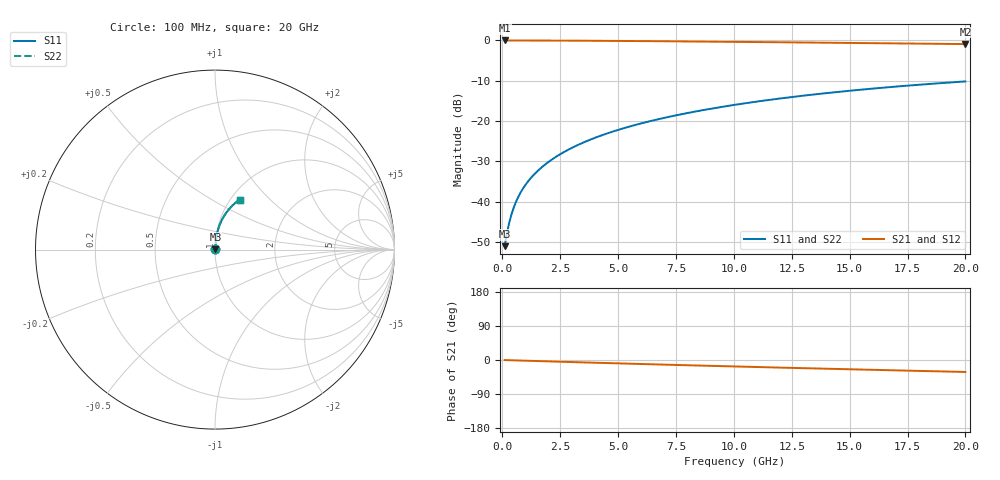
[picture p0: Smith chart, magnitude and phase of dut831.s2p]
! Touchstone file exported from HFSS 2024.1.0
!  File:  C:/UserFiles/LocalFiles/RDL_TSV_Batchsim/temp_RDL_top_831_1779854975.aedt
!  Generated:  12:11:18 PM May 27, 2026
!  Design:  RDL_top
!  Project:  temp_RDL_top_831_1779854975
!  Setup:  Setup1
!  Solution:  Sweep
! Variables:
!  dtsv = 10.80580581um
!  hbump = 3um
!  htsv = 92.39um
!  ldown = 100um
!  lrdl = 443.16um
!  p = 40
!  p1 = 42.82um
!  rhole = 1um
!  t = 450um
!  tdown = 3.915915916um
!  trdl = 4.32um
!  wdown = 15.38538539um
!  wrdl = 17.17um
# GHz S MA R 50.000000
! Terminal data exported
! Port[1] = Box2_T1
! Port[2] = Box2_T2
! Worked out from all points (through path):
!   200 points, 100 MHz to 20 GHz, reference 50 ohm
!   highest |S21| = -0.02 dB at 100 MHz (marker M1); lowest = -0.9 dB at 20 GHz (marker M2)
!   group delay of S21, straight-line fit = 4.35 ps
!   lowest |S11| = -51.1 dB at 100 MHz (marker M3), VSWR 1.01, Z = 50.2 + j0.167 ohm
!   |S11| at or under -10 dB: start of sweep to end of sweep
!   |S22| runs from -51.1 to -10.2 dB; largest |S21 - S12| = 2.2e-15
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0.1  0.002801 36.5  0.9977 -0.2  0.9977 -0.2  0.002801 36.5
! Gamma 0 0 0 0
! Port Impedance 50 0 50 0
0.2  0.004036 55.4  0.9976 -0.4  0.9976 -0.4  0.004036 55.4
0.3  0.005489 64.6  0.9975 -0.6  0.9975 -0.6  0.005489 64.6
0.4  0.007006 69.6  0.9974 -0.7  0.9974 -0.7  0.007006 69.6
0.5  0.008539 72.8  0.9973 -0.9  0.9973 -0.9  0.00854 72.8
0.6  0.01007 74.9  0.9972 -1.1  0.9972 -1.1  0.01007 74.9
0.8  0.01311 77.7  0.9969 -1.5  0.9969 -1.5  0.01311 77.7
1.1  0.01762 80.0  0.9966 -2.0  0.9966 -2.0  0.01762 80.0
1.5  0.02361 81.7  0.9959 -2.7  0.9959 -2.7  0.02361 81.7
1.8  0.02812 82.5  0.9954 -3.3  0.9954 -3.3  0.02812 82.5
2.1  0.03265 83.0  0.9947 -3.8  0.9947 -3.8  0.03265 83.0
2.7  0.04177 83.6  0.9932 -4.9  0.9932 -4.9  0.04177 83.6
3.5  0.05407 83.8  0.9906 -6.3  0.9906 -6.3  0.05406 83.7
4.2  0.06496 83.6  0.988 -7.5  0.988 -7.5  0.06494 83.5
5  0.07753 83.2  0.9847 -8.9  0.9847 -8.9  0.07751 83.1
5.9  0.09183 82.5  0.9806 -10.4  0.9806 -10.4  0.09179 82.5
6.8  0.1063 81.7  0.9761 -11.9  0.9761 -11.9  0.1062 81.6
8.4  0.1321 79.9  0.9678 -14.5  0.9678 -14.5  0.132 79.9
10.1  0.1597 77.8  0.9585 -17.2  0.9585 -17.2  0.1596 77.8
13.4  0.2124 73.3  0.9395 -22.2  0.9395 -22.2  0.2123 73.2
16.7  0.2628 68.5  0.9198 -27.0  0.9198 -27.0  0.2625 68.5
20  0.3097 63.8  0.8996 -31.5  0.8996 -31.5  0.3094 63.8
